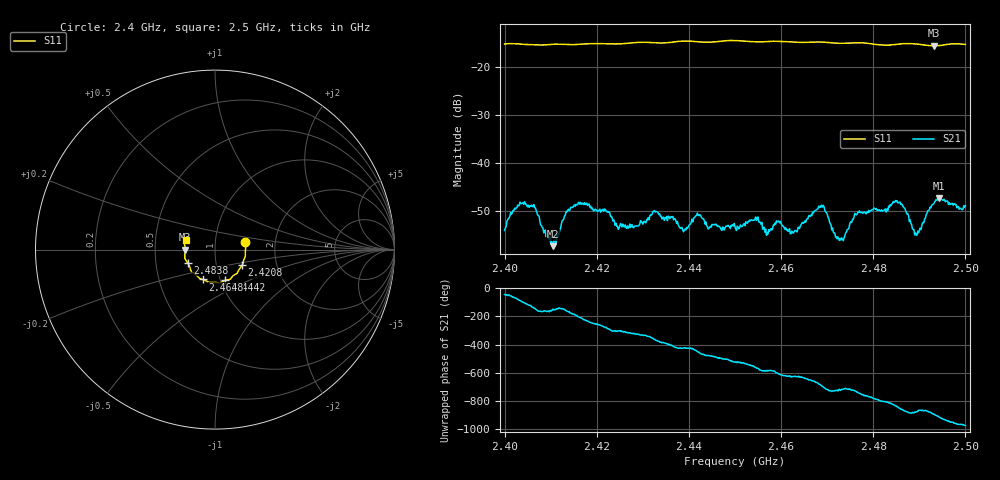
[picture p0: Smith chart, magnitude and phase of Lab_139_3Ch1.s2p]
# Hz S RI R 50
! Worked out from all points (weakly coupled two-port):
!   601 points, 2.4 GHz to 2.5 GHz, reference 50 ohm
!   highest |S21| = -47.19 dB at 2.4942 GHz (marker M1); lowest = -57.2 dB at 2.4105 GHz (marker M2)
!   lowest |S11| = -15.6 dB at 2.4932 GHz (marker M3), VSWR 1.40, Z = 35.8 - j0.0864 ohm
!   |S11| at or under -10 dB: start of sweep to end of sweep
!   S12 and S22 are empty: the file has one direction only
!   S11 on the Smith chart (normalised r, x): 2.4 GHz: 1.40, +0.12; 2.4208 GHz: 1.33, -0.24; 2.4442 GHz: 1.05, -0.37; 2.4648 GHz: 0.83, -0.28; 2.4838 GHz: 0.73, -0.11; 2.5 GHz: 0.72, +0.08
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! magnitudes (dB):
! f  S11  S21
! 2.4 GHz  -15.2  -53.9
! 2.4042 GHz  -15.3  -48.5
! 2.4105 GHz  -15.3  -57.2
! 2.4135 GHz  -15.3  -50.1
! 2.4167 GHz  -15.3  -48.5
! 2.4208 GHz  -15.2  -50.1
! 2.4265 GHz  -15.1  -53.5
! 2.4333 GHz  -15.0  -50.3
! 2.4442 GHz  -14.9  -53.7
! 2.45 GHz  -14.5  -53.2
! 2.4648 GHz  -14.9  -52.5
! 2.4667 GHz  -14.8  -50.9
! 2.469 GHz  -14.8  -49.1
! 2.473 GHz  -15.1  -55.9
! 2.4765 GHz  -15.0  -50.5
! 2.4833 GHz  -15.5  -48.9
! 2.4838 GHz  -15.4  -48.8
! 2.4862 GHz  -15.2  -48.5
! 2.4895 GHz  -15.2  -54.9
! 2.4932 GHz  -15.6  -48.4
! 2.4942 GHz  -15.6  -47.2
! 2.5 GHz  -15.3  -48.8
